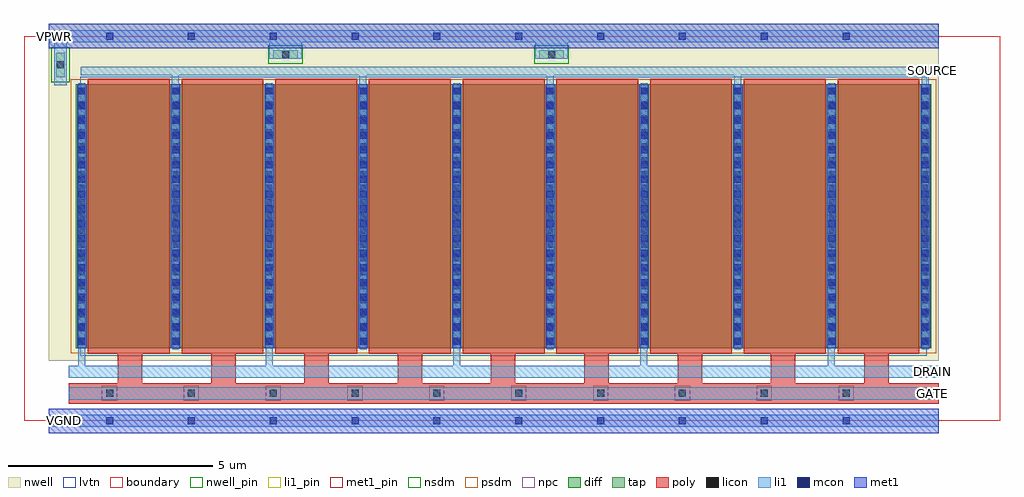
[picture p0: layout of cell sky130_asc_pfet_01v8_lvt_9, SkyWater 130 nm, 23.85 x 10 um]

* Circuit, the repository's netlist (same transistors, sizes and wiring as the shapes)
* NGSPICE file created from sky130_asc_pfet_01v8_lvt_9.ext - technology: sky130A

.subckt sky130_asc_pfet_01v8_lvt_9 GATE SOURCE DRAIN VGND VPWR
X0 SOURCE GATE DRAIN VPWR sky130_fd_pr__pfet_01v8_lvt ad=9.3525e+12p pd=6.74e+07u as=9.3525e+12p ps=6.74e+07u w=6.45e+06u l=2e+06u
X1 DRAIN GATE SOURCE VPWR sky130_fd_pr__pfet_01v8_lvt ad=0p pd=0u as=0p ps=0u w=6.45e+06u l=2e+06u
X2 SOURCE GATE DRAIN VPWR sky130_fd_pr__pfet_01v8_lvt ad=0p pd=0u as=0p ps=0u w=6.45e+06u l=2e+06u
X3 SOURCE GATE DRAIN VPWR sky130_fd_pr__pfet_01v8_lvt ad=0p pd=0u as=0p ps=0u w=6.45e+06u l=2e+06u
X4 SOURCE GATE DRAIN VPWR sky130_fd_pr__pfet_01v8_lvt ad=0p pd=0u as=0p ps=0u w=6.45e+06u l=2e+06u
X5 DRAIN GATE SOURCE VPWR sky130_fd_pr__pfet_01v8_lvt ad=0p pd=0u as=0p ps=0u w=6.45e+06u l=2e+06u
X6 DRAIN GATE SOURCE VPWR sky130_fd_pr__pfet_01v8_lvt ad=0p pd=0u as=0p ps=0u w=6.45e+06u l=2e+06u
X7 SOURCE GATE DRAIN VPWR sky130_fd_pr__pfet_01v8_lvt ad=0p pd=0u as=0p ps=0u w=6.45e+06u l=2e+06u
X8 DRAIN GATE SOURCE VPWR sky130_fd_pr__pfet_01v8_lvt ad=0p pd=0u as=0p ps=0u w=6.45e+06u l=2e+06u
.ends

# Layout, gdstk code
import gdstk
lib = gdstk.Library(unit=1e-6, precision=1e-09)
def R(c, l, rs):  # rectangles x0, y0, x1, y1
    for r in rs: c.add(gdstk.rectangle(r[:2], r[2:], *l))
def A(c, l, x, y, w, h, nx, ny, dx, dy):  # array of equal rectangles
    R(c, l, [(x+i*dx, y+j*dy, x+i*dx+w, y+j*dy+h) for i in range(nx) for j in range(ny)])
nwell_pin = (64, 16)
nwell = (64, 20)
diff = (65, 20)
tap = (65, 44)
poly = (66, 20)
licon = (66, 44)
li1_pin = (67, 16)
li1 = (67, 20)
mcon = (67, 44)
met1_pin = (68, 16)
met1 = (68, 20)
nsdm = (93, 44)
psdm = (94, 20)
npc = (95, 20)
lvtn = (125, 44)
boundary = (235, 4)

sky130_asc_pfet_01v8_lvt = lib.new_cell('sky130_asc_pfet_01v8_lvt_9')
R(sky130_asc_pfet_01v8_lvt, nwell_pin, [(0.6,9.25,0.9,9.55)])
R(sky130_asc_pfet_01v8_lvt, nwell, [(1.09,1.465,22.35,1.47), (0.6,1.47,22.35,9.7)])
R(sky130_asc_pfet_01v8_lvt, diff, [(1.27,1.775,22.17,8.225)])
R(sky130_asc_pfet_01v8_lvt, tap, [(0.79,8.4,0.99,9), (6.09,8.85,6.69,9.05), (12.59,8.85,13.19,9.05)])
A(sky130_asc_pfet_01v8_lvt, poly, 2.29, 0.92, 0.6, 0.725, 9, 1, 2.28, 0)
A(sky130_asc_pfet_01v8_lvt, poly, 1.56, 1.645, 2, 6.71, 9, 1, 2.29, 0)
R(sky130_asc_pfet_01v8_lvt, poly, [(1.09,0.42,22.35,0.92)])
A(sky130_asc_pfet_01v8_lvt, licon, 2.005, 0.585, 0.17, 0.17, 10, 1, 2, 0)
A(sky130_asc_pfet_01v8_lvt, licon, 1.33, 1.855, 0.17, 0.17, 10, 19, 2.29, 0.34)
R(sky130_asc_pfet_01v8_lvt, licon, [(0.805,8.615,0.975,8.785), (6.315,8.865,6.485,9.035), (12.815,8.865,12.985,9.035)])
R(sky130_asc_pfet_01v8_lvt, li1_pin, [(22.05,0.52,22.35,0.82), (22.05,1.05,22.35,1.35), (22.05,8.45,22.35,8.65)])
A(sky130_asc_pfet_01v8_lvt, li1, 1.325, 1.35, 0.17, 0.405, 5, 1, 4.58, 0)
A(sky130_asc_pfet_01v8_lvt, li1, 1.325, 1.755, 0.175, 0.115, 5, 1, 4.58, 0)
A(sky130_asc_pfet_01v8_lvt, li1, 3.62, 1.755, 0.17, 6.375, 5, 1, 4.58, 0)
A(sky130_asc_pfet_01v8_lvt, li1, 1.33, 1.87, 0.17, 6.375, 5, 1, 4.58, 0)
A(sky130_asc_pfet_01v8_lvt, li1, 3.615, 8.13, 0.175, 0.115, 5, 1, 4.58, 0)
A(sky130_asc_pfet_01v8_lvt, li1, 3.615, 8.245, 0.17, 0.205, 5, 1, 4.58, 0)
R(sky130_asc_pfet_01v8_lvt, li1, [(0.6,-0.15,22.35,0.15), (1.09,0.52,22.35,0.82), (1.09,1.05,22.35,1.35), (0.74,8.2,1.04,9.25), (1.39,8.45,22.35,8.65), (5.99,8.85,6.79,9.25), (12.49,8.85,13.29,9.25), (0.6,9.25,22.35,9.55)])
A(sky130_asc_pfet_01v8_lvt, mcon, 2.005, -0.085, 0.17, 0.17, 10, 2, 2, 9.4)
A(sky130_asc_pfet_01v8_lvt, mcon, 1.33, 1.855, 0.17, 0.17, 10, 18, 2.29, 0.36)
R(sky130_asc_pfet_01v8_lvt, met1_pin, [(0.6,-0.15,1.39,0.15)])
A(sky130_asc_pfet_01v8_lvt, met1, 1.3, 1.775, 0.23, 6.45, 10, 1, 2.29, 0)
R(sky130_asc_pfet_01v8_lvt, met1, [(0.6,-0.3,22.35,0.3), (0.6,9.1,22.35,9.7)])
R(sky130_asc_pfet_01v8_lvt, nsdm, [(0.665,8.275,1.115,9.125), (5.965,8.725,6.815,9.175), (12.465,8.725,13.315,9.175)])
R(sky130_asc_pfet_01v8_lvt, psdm, [(1.145,1.65,22.295,8.35)])
A(sky130_asc_pfet_01v8_lvt, npc, 1.905, 0.485, 0.37, 0.37, 10, 1, 2, 0)
R(sky130_asc_pfet_01v8_lvt, lvtn, [(1.38,1.595,22.06,8.405)])
R(sky130_asc_pfet_01v8_lvt, boundary, [(0,0,23.85,9.4)])
sky130_asc_pfet_01v8_lvt.add(gdstk.Label('GATE', (22.2,0.67), layer=67, texttype=16))
sky130_asc_pfet_01v8_lvt.add(gdstk.Label('SOURCE', (22.2,8.55), layer=67, texttype=16))
sky130_asc_pfet_01v8_lvt.add(gdstk.Label('DRAIN', (22.2,1.2), layer=67, texttype=16))
sky130_asc_pfet_01v8_lvt.add(gdstk.Label('VPWR', (0.75,9.4), layer=64, texttype=16))
sky130_asc_pfet_01v8_lvt.add(gdstk.Label('VGND', (0.995,0), layer=68, texttype=16))

lib.write_gds('sky130_asc_pfet_01v8_lvt_9.gds')
